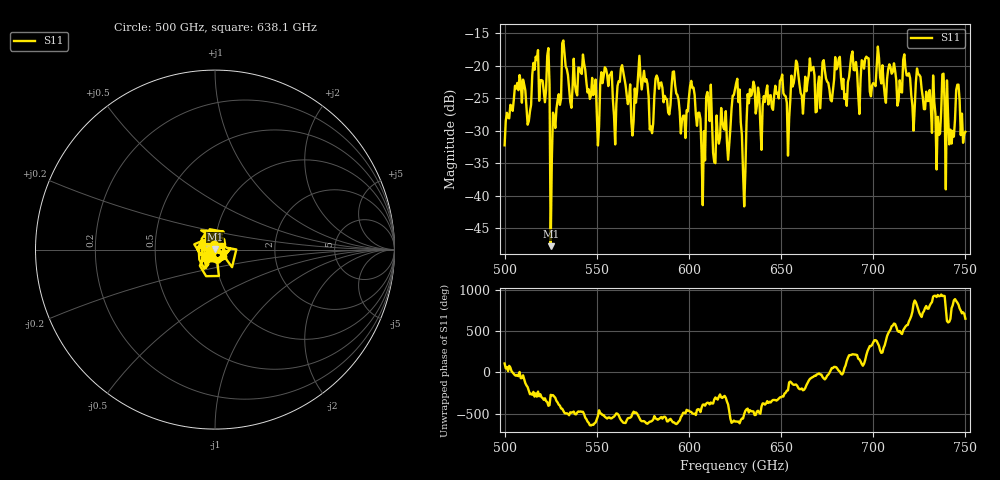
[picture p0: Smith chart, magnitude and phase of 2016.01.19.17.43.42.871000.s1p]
!Created with skrf (http://scikit-rf.org).
# GHz S RI R 50.0
!freq ReS11 ImS11
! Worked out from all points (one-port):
!   401 points, 500 GHz to 750 GHz, reference 50 ohm
!   lowest |S11| = -47.7 dB at 525 GHz (marker M1), VSWR 1.01, Z = 50 + j0.409 ohm
!   |S11| at or under -10 dB: start of sweep to end of sweep
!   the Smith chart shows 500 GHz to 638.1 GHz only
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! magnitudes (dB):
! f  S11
! 500 GHz  -32.2
! 506.9 GHz  -22.7
! 513.1 GHz  -28.5
! 516.9 GHz  -18.6
! 523.1 GHz  -18.5
! 525 GHz  -47.7
! 526.2 GHz  -27.2
! 531.2 GHz  -16.6
! 550 GHz  -27.4
! 562.5 GHz  -22.5
! 570 GHz  -28.5
! 576.2 GHz  -22.5
! 579.4 GHz  -29.3
! 583.1 GHz  -22.0
! 593.8 GHz  -24.5
! 596.9 GHz  -27.7
! 601.9 GHz  -23.4
! 607.5 GHz  -41.4
! 610.6 GHz  -25.4
! 614.4 GHz  -35.0
! 621.9 GHz  -32.2
! 625 GHz  -23.6
! 630 GHz  -41.6
! 634.4 GHz  -24.1
! 656.2 GHz  -23.2
! 687.5 GHz  -20.0
! 718.8 GHz  -21.5
! 750 GHz  -30.2
